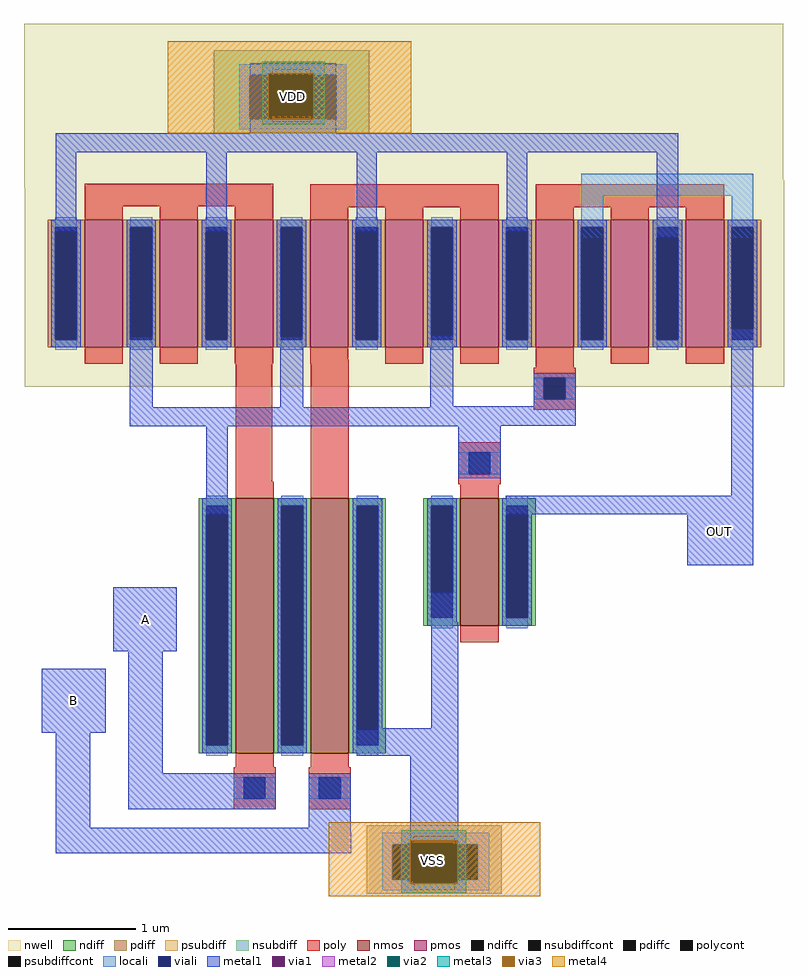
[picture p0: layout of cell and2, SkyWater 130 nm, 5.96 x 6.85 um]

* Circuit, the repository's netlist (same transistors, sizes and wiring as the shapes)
** sch_path: /mnt/c/Users/DRC/Desktop/elec/4th/4th_fall/elec451/final_project/design/xschem/and2.sch
.subckt and2 VSS A B VDD OUT
*.PININFO VSS:B A:I B:I VDD:B OUT:O
XM2 net2 B VSS VSS sky130_fd_pr__nfet_01v8 L=0.3 W=2 nf=1 ad='int((nf+1)/2) * W/nf * 0.29' as='int((nf+2)/2) * W/nf * 0.29'
+ pd='2*int((nf+1)/2) * (W/nf + 0.29)' ps='2*int((nf+2)/2) * (W/nf + 0.29)' nrd='0.29 / W' nrs='0.29 / W'
+ sa=0 sb=0 sd=0 mult=1 m=1
XM1 net1 A net2 VSS sky130_fd_pr__nfet_01v8 L=0.3 W=2 nf=1 ad='int((nf+1)/2) * W/nf * 0.29' as='int((nf+2)/2) * W/nf * 0.29'
+ pd='2*int((nf+1)/2) * (W/nf + 0.29)' ps='2*int((nf+2)/2) * (W/nf + 0.29)' nrd='0.29 / W' nrs='0.29 / W'
+ sa=0 sb=0 sd=0 mult=1 m=1
XM3 net1 A VDD VDD sky130_fd_pr__pfet_01v8 L=0.3 W=3 nf=3 ad='int((nf+1)/2) * W/nf * 0.29' as='int((nf+2)/2) * W/nf * 0.29'
+ pd='2*int((nf+1)/2) * (W/nf + 0.29)' ps='2*int((nf+2)/2) * (W/nf + 0.29)' nrd='0.29 / W' nrs='0.29 / W'
+ sa=0 sb=0 sd=0 mult=1 m=1
XM4 net1 B VDD VDD sky130_fd_pr__pfet_01v8 L=0.3 W=3 nf=3 ad='int((nf+1)/2) * W/nf * 0.29' as='int((nf+2)/2) * W/nf * 0.29'
+ pd='2*int((nf+1)/2) * (W/nf + 0.29)' ps='2*int((nf+2)/2) * (W/nf + 0.29)' nrd='0.29 / W' nrs='0.29 / W'
+ sa=0 sb=0 sd=0 mult=1 m=1
XM5 OUT net1 VDD VDD sky130_fd_pr__pfet_01v8 L=0.3 W=3 nf=3 ad='int((nf+1)/2) * W/nf * 0.29' as='int((nf+2)/2) * W/nf * 0.29'
+ pd='2*int((nf+1)/2) * (W/nf + 0.29)' ps='2*int((nf+2)/2) * (W/nf + 0.29)' nrd='0.29 / W' nrs='0.29 / W'
+ sa=0 sb=0 sd=0 mult=1 m=1
XM6 OUT net1 VSS VSS sky130_fd_pr__nfet_01v8 L=0.3 W=1 nf=1 ad='int((nf+1)/2) * W/nf * 0.29' as='int((nf+2)/2) * W/nf * 0.29'
+ pd='2*int((nf+1)/2) * (W/nf + 0.29)' ps='2*int((nf+2)/2) * (W/nf + 0.29)' nrd='0.29 / W' nrs='0.29 / W'
+ sa=0 sb=0 sd=0 mult=1 m=1
.ends
.end

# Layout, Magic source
magic
tech sky130B
magscale 1 2
<< nwell >>
rect 0 318 1192 576
rect 803 288 1099 318
<< psubdiff >>
rect 538 -712 750 -682
rect 538 -768 578 -712
rect 712 -768 750 -712
rect 538 -790 750 -768
<< nsubdiff >>
rect 298 496 542 534
rect 298 426 354 496
rect 490 426 542 496
rect 298 404 542 426
<< psubdiffcont >>
rect 578 -768 712 -712
<< nsubdiffcont >>
rect 354 426 490 496
<< poly >>
rect 95 289 391 325
rect 449 288 745 324
rect 803 288 1099 324
rect 332 -168 390 48
rect 450 -168 510 48
rect 803 36 863 58
rect 800 20 866 36
rect 800 -14 816 20
rect 850 -14 866 20
rect 800 -30 866 -14
<< polycont >>
rect 816 -14 850 20
<< locali >>
rect 338 496 506 512
rect 338 426 354 496
rect 490 426 506 496
rect 338 410 506 426
rect 875 306 1145 340
rect 875 240 909 306
rect 1111 240 1145 306
rect 800 -14 816 20
rect 850 -14 866 20
rect 562 -712 730 -694
rect 562 -768 578 -712
rect 712 -768 730 -712
rect 562 -784 730 -768
<< viali >>
rect 390 432 450 494
rect 816 -14 850 20
rect 618 -764 670 -718
<< metal1 >>
rect 354 494 490 514
rect 354 432 390 494
rect 450 432 490 494
rect 354 404 490 432
rect 50 374 1027 404
rect 50 250 82 374
rect 286 250 318 374
rect 522 250 554 374
rect 758 250 790 374
rect 993 241 1027 374
rect 166 -26 202 84
rect 402 -26 438 84
rect 638 -25 674 86
rect 800 20 866 27
rect 800 -14 816 20
rect 850 -14 866 20
rect 800 -25 866 -14
rect 638 -26 866 -25
rect 166 -55 866 -26
rect 166 -56 748 -55
rect 286 -194 320 -56
rect 682 -138 748 -56
rect 1110 -165 1145 96
rect 756 -194 1145 -165
rect 1041 -274 1145 -194
rect 140 -409 240 -309
rect 639 -364 674 -317
rect 28 -537 128 -437
rect 50 -686 104 -537
rect 164 -601 218 -409
rect 639 -530 682 -364
rect 560 -533 682 -530
rect 522 -573 682 -533
rect 164 -657 395 -601
rect 447 -686 513 -601
rect 50 -694 513 -686
rect 50 -726 514 -694
rect 606 -710 682 -573
rect 602 -770 612 -710
rect 674 -770 684 -710
<< via1 >>
rect 390 432 450 494
rect 612 -718 674 -710
rect 612 -764 618 -718
rect 618 -764 670 -718
rect 670 -764 674 -718
rect 612 -770 674 -764
<< metal2 >>
rect 390 494 450 504
rect 390 422 450 432
rect 612 -702 674 -700
rect 612 -710 676 -702
rect 674 -712 676 -710
rect 612 -784 676 -774
<< via2 >>
rect 390 432 450 494
rect 612 -770 674 -712
rect 674 -770 676 -712
rect 612 -774 676 -770
<< metal3 >>
rect 374 498 472 516
rect 374 426 384 498
rect 454 426 472 498
rect 374 418 472 426
rect 592 -706 694 -690
rect 592 -774 606 -706
rect 680 -774 694 -706
rect 592 -788 694 -774
<< via3 >>
rect 384 494 454 498
rect 384 432 390 494
rect 390 432 450 494
rect 450 432 454 494
rect 384 426 454 432
rect 606 -712 680 -706
rect 606 -774 612 -712
rect 612 -774 676 -712
rect 676 -774 680 -712
<< metal4 >>
rect 226 498 608 548
rect 226 426 384 498
rect 454 426 608 498
rect 226 404 608 426
rect 478 -706 810 -678
rect 478 -774 606 -706
rect 680 -774 810 -706
rect 478 -794 810 -774
use sky130_fd_pr__nfet_01v8_M82KHF  sky130_fd_pr__nfet_01v8_M82KHF_1
transform 1 0 362 0 1 -400
box -88 -257 88 257
use sky130_fd_pr__nfet_01v8_M82KHF  sky130_fd_pr__nfet_01v8_M82KHF_2
transform 1 0 480 0 1 -400
box -88 -257 88 257
use sky130_fd_pr__nfet_01v8_UMD3L6  sky130_fd_pr__nfet_01v8_UMD3L6_0
transform 1 0 715 0 1 -238
box -88 -157 88 157
use sky130_fd_pr__pfet_01v8_A6G7W3  sky130_fd_pr__pfet_01v8_A6G7W3_0
transform 1 0 597 0 1 168
box -596 -162 596 162
<< labels >>
flabel metal1 140 -409 240 -309 1 FreeSans 480 0 0 0 A
port 2 n
flabel metal1 28 -537 128 -437 1 FreeSans 480 0 0 0 B
port 3 n
flabel metal4 524 -792 760 -682 1 FreeSerif 640 0 0 0 VSS
port 6 n
flabel metal4 354 426 490 496 1 FreeSerif 640 0 0 0 VDD
port 7 n
flabel metal1 1046 -264 1138 -178 1 FreeSerif 480 0 0 0 OUT
port 8 n
<< end >>

# cell sky130_fd_pr__nfet_01v8_M82KHF: kit device sky130_fd_pr__nfet_01v8, w 2 l 0.3 m 1 nf 1 diffcov 100 polycov 100 guard 0 glc 1 grc 1 gtc 1 gbc 1 tbcov 100 rlcov 100 topc 0 botc 1 poverlap 0 doverlap 1 lmin 0.15 wmin 0.42 compatible {sky130_fd_pr__nfet_01v8 sky130_fd_pr__nfet_01v8_lvt sky130_fd_bs_flash__special_sonosfet_star sky130_fd_pr__nfet_g5v0d10v5 sky130_fd_pr__nfet_05v0_nvt sky130_fd_pr__nfet_03v3_nvt} full_metal 1 viasrc 100 viadrn 100 viagate 100 viagb 0 viagr 0 viagl 0 viagt 0

# cell sky130_fd_pr__nfet_01v8_UMD3L6: kit device sky130_fd_pr__nfet_01v8, w 1 l 0.3 m 1 nf 1 diffcov 100 polycov 100 guard 0 glc 1 grc 1 gtc 1 gbc 1 tbcov 100 rlcov 100 topc 1 botc 0 poverlap 0 doverlap 1 lmin 0.15 wmin 0.42 compatible {sky130_fd_pr__nfet_01v8 sky130_fd_pr__nfet_01v8_lvt sky130_fd_bs_flash__special_sonosfet_star sky130_fd_pr__nfet_g5v0d10v5 sky130_fd_pr__nfet_05v0_nvt sky130_fd_pr__nfet_03v3_nvt} full_metal 1 viasrc 100 viadrn 100 viagate 100 viagb 0 viagr 0 viagl 0 viagt 0

# cell sky130_fd_pr__pfet_01v8_A6G7W3: kit device sky130_fd_pr__pfet_01v8, w 1 l 0.3 m 1 nf 9 diffcov 100 polycov 100 guard 0 glc 1 grc 1 gtc 1 gbc 1 tbcov 100 rlcov 100 topc 0 botc 0 poverlap 0 doverlap 1 lmin 0.15 wmin 0.42 compatible {sky130_fd_pr__pfet_01v8 sky130_fd_pr__pfet_01v8_lvt sky130_fd_pr__pfet_01v8_hvt sky130_fd_pr__pfet_g5v0d10v5} full_metal 1 viasrc 100 viadrn 100 viagate 100 viagb 0 viagr 0 viagl 0 viagt 0
